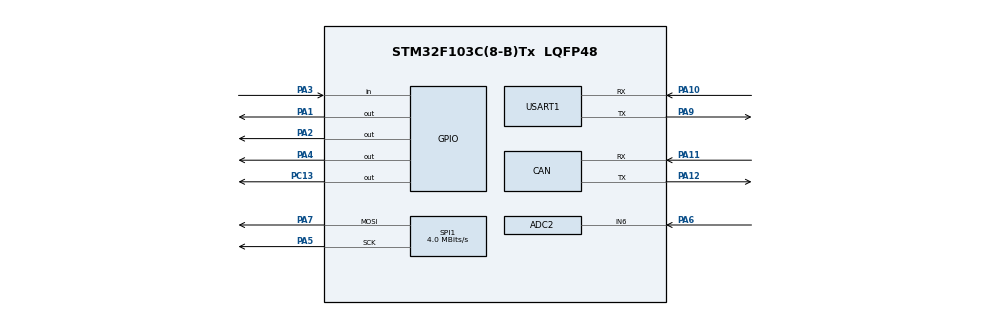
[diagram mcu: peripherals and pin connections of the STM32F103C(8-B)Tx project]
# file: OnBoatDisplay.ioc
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ADC1.Channel-15\#ChannelRegularConversion=ADC_CHANNEL_TEMPSENSOR
ADC1.NbrOfConversionFlag=1
ADC1.Rank-15\#ChannelRegularConversion=1
ADC1.SamplingTime-15\#ChannelRegularConversion=ADC_SAMPLETIME_1CYCLE_5
ADC1.master=1
ADC2.Channel-0\#ChannelRegularConversion=ADC_CHANNEL_6
ADC2.NbrOfConversionFlag=1
ADC2.Rank-0\#ChannelRegularConversion=1
ADC2.SamplingTime-0\#ChannelRegularConversion=ADC_SAMPLETIME_1CYCLE_5
CAN.CalculateTimeBit=6000
CAN.CalculateTimeQuantum=2000.0
Mcu.Family=STM32F1
Mcu.Name=STM32F103C(8-B)Tx
Mcu.Package=LQFP48
NVIC.PriorityGroup=NVIC_PRIORITYGROUP_4
NVIC.USB_HP_CAN1_TX_IRQn=true\:0\:0\:false\:false\:true\:true
NVIC.USB_LP_CAN1_RX0_IRQn=true\:0\:0\:false\:false\:true\:true
PA1.Signal=GPIO_Output
PA10.Mode=Asynchronous
PA10.Signal=USART1_RX
PA11.Mode=Master
PA11.Signal=CAN_RX
PA12.Mode=Master
PA12.Signal=CAN_TX
PA2.Signal=GPIO_Output
PA3.Signal=GPIO_Input
PA4.Signal=GPIO_Output
PA5.Mode=TX_Only_Simplex_Unidirect_Master
PA5.Signal=SPI1_SCK
PA6.Signal=ADCx_IN6
PA7.Mode=TX_Only_Simplex_Unidirect_Master
PA7.Signal=SPI1_MOSI
PA9.Mode=Asynchronous
PA9.Signal=USART1_TX
PC13-TAMPER-RTC.Signal=GPIO_Output
ProjectManager.HeapSize=0x2710
ProjectManager.StackSize=0x300
ProjectManager.TargetToolchain=SW4STM32
RCC.APB1Freq_Value=8000000
RCC.APB2Freq_Value=8000000
SH.ADCx_IN6.0=ADC2_IN6,IN6
SPI1.CalculateBaudRate=4.0 MBits/s
SPI1.Direction=SPI_DIRECTION_2LINES
SPI1.Mode=SPI_MODE_MASTER
SPI1.VirtualType=VM_MASTER
USART1.VirtualMode=VM_ASYNC
VP_ADC1_TempSens_Input.Mode=IN-TempSens
VP_SYS_VS_ND.Mode=No_Debug
board=OnBoatDisplay

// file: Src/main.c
/**
 ******************************************************************************
 * @file           : main.c
 * @brief          : Main program body
 ******************************************************************************
 ** This notice applies to any and all portions of this file
 * that are not between comment pairs USER CODE BEGIN and
 * USER CODE END. Other portions of this file, whether
 * inserted by the user or by software development tools
 * are owned by their respective copyright owners.
 *
 * COPYRIGHT(c) 2018 STMicroelectronics
 *
 * Redistribution and use in source and binary forms, with or without modification,
 * are permitted provided that the following conditions are met:
 *   1. Redistributions of source code must retain the above copyright notice,
 *      this list of conditions and the following disclaimer.
 *   2. Redistributions in binary form must reproduce the above copyright notice,
 *      this list of conditions and the following disclaimer in the documentation
 *      and/or other materials provided with the distribution.
 *   3. Neither the name of STMicroelectronics nor the names of its contributors
 *      may be used to endorse or promote products derived from this software
 *      without specific prior written permission.
 *
 * THIS SOFTWARE IS PROVIDED BY THE COPYRIGHT HOLDERS AND CONTRIBUTORS "AS IS"
 * AND ANY EXPRESS OR IMPLIED WARRANTIES, INCLUDING, BUT NOT LIMITED TO, THE
 * IMPLIED WARRANTIES OF MERCHANTABILITY AND FITNESS FOR A PARTICULAR PURPOSE ARE
 * DISCLAIMED. IN NO EVENT SHALL THE COPYRIGHT HOLDER OR CONTRIBUTORS BE LIABLE
 * FOR ANY DIRECT, INDIRECT, INCIDENTAL, SPECIAL, EXEMPLARY, OR CONSEQUENTIAL
 * DAMAGES (INCLUDING, BUT NOT LIMITED TO, PROCUREMENT OF SUBSTITUTE GOODS OR
 * SERVICES; LOSS OF USE, DATA, OR PROFITS; OR BUSINESS INTERRUPTION) HOWEVER
 * CAUSED AND ON ANY THEORY OF LIABILITY, WHETHER IN CONTRACT, STRICT LIABILITY,
 * OR TORT (INCLUDING NEGLIGENCE OR OTHERWISE) ARISING IN ANY WAY OUT OF THE USE
 * OF THIS SOFTWARE, EVEN IF ADVISED OF THE POSSIBILITY OF SUCH DAMAGE.
 *
 ******************************************************************************
 */
#include "main.h"
#include "stm32f1xx_hal.h"
#include "adc.h"
#include "can.h"
#include "spi.h"
#include "usart.h"
#include "gpio.h"

/* USER CODE BEGIN Includes */
#include "epd2in9b.h"
#include "epdif.h"
#include "epdpaint.h"
#include "imagedata.h"
#include <stdlib.h>
#include "gompi.h"
/* USER CODE END Includes */

/* USER CODE BEGIN PV */
/* Private variables ---------------------------------------------------------*/
#define COLORED      1
#define UNCOLORED    0

typedef enum { false, true } bool;

enum {
	SailbotState = 0x14ff1015,
	SailbotConn = 0x14ff1115,
	BatteryVoltage = 0x94ff2015
};

typedef struct {
	unsigned char Wing;
	unsigned char Ballast;
	unsigned char Winch;
	unsigned char Rudder;
	unsigned char Tacker;
} SailbotStates_t;

typedef struct {
	unsigned char Wing;
	unsigned char Radio;
	unsigned char Wifi;
	unsigned char Jetson;
	unsigned char UI;
} SailbotConnections_t;

uint8_t ubKeyNumber = 0x0;
CAN_HandleTypeDef    CanHandle;
/* USER CODE END PV */

void SystemClock_Config(void);

/* USER CODE BEGIN PFP */
/* Private function prototypes -----------------------------------------------*/
static void CAN_Config(void);
void waitForCANMsg(int CANID);
void getFirstCANMsgs();
bool compareConnections(SailbotConnections_t conn1, SailbotConnections_t conn2);
bool compareStates(SailbotStates_t states1, SailbotStates_t states2);

/* USER CODE END PFP */

/* USER CODE BEGIN 0 */
volatile unsigned long ticks;
float voltage = 0;

char* modes[5] = {"MANL", "AUTO", "WIFI", "DSBL", "FLTR"};
char* conn[3] = {"OK", "--", "NA"};

char* connectionStr(int status) {
	if (status != 255) {
		return conn[status];
	} else {
		return conn[2];
	}
}

char* modeStr(int status) {
	return modes[status];
}

SailbotStates_t SailbotStates;
SailbotConnections_t SailbotConnections;

SailbotStates_t SailbotStates_tmp;
SailbotConnections_t SailbotConnections_tmp;

/* USER CODE END 0 */

int main(void)
{

	/* MCU Configuration----------------------------------------------------------*/

	/* Reset of all peripherals, Initializes the Flash interface and the Systick. */
	HAL_Init();

	/* Configure the system clock */
	SystemClock_Config();

	/* Initialize all configured peripherals */
	MX_GPIO_Init();
	MX_CAN_Init();
	MX_ADC1_Init();
	MX_USART1_UART_Init();
	MX_SPI1_Init();
	MX_ADC2_Init();
	/* USER CODE BEGIN 2 */

	HAL_GPIO_WritePin(GPIOC, GPIO_PIN_13, GPIO_PIN_SET);

	CAN_Config();

	__HAL_CAN_CLEAR_FLAG(&CanHandle, CAN_FLAG_WKU);

	/* you have to edit the startup_stm32fxxx.s file and set a big enough heap size */
	unsigned char* frame_buffer_black = (unsigned char*)malloc(EPD_WIDTH * EPD_HEIGHT / 8);
	unsigned char* frame_buffer_red = (unsigned char*)malloc(EPD_WIDTH * EPD_HEIGHT / 8);
	EPD epd;
	if (EPD_Init(&epd) != 0) {
		//printf("e-Paper init failed\n");
		return -1;
	}

	Paint paint_black;
	Paint paint_red;
	Paint_Init(&paint_black, frame_buffer_black, epd.width, epd.height);
	Paint_Init(&paint_red, frame_buffer_red, epd.width, epd.height);
	Paint_Clear(&paint_black, UNCOLORED);
	Paint_Clear(&paint_red, UNCOLORED);

	/* Draw something to the frame buffer */
	/* For simplicity, the arguments are explicit numerical coordinates */
	Paint_SetRotate(&paint_black, ROTATE_270);
	Paint_SetRotate(&paint_red, ROTATE_270);

	/*Write strings to the buffer */
	Paint_DrawStringAt(&paint_black, 120, 45, "Boat booting", &Font20, COLORED);
	Paint_DrawStringAt(&paint_black, 120, 70, "Please wait", &Font20, COLORED);

	/* Display the text, plus Gompi in red */
	EPD_DisplayFrame(&epd, frame_buffer_black, gImage_gompi);

	//waitForCANMsg(SailbotState);
	//HAL_Delay(5000); // Will replace with wait for rx of specific CAN message or some other signal from BBB

	getFirstCANMsgs();

	int ADCValue = 0;
	long startTime = 0;
	int interval = 15000; // time between screen updates in sections
	/* USER CODE END 2 */

	/* Infinite loop */
	/* USER CODE BEGIN WHILE */
	while (1)
	{

		startTime = ticks;

		/**
		 *
		 * Continually read messages from the CAN bus.
		 * If the received message is either of the two we care about, save the data from them for later display.
		 * This way the latest data is always available when the display updates.
		 * If the status or connection message changes, then update the display as well
		 *
		 */
		while (ticks < (startTime + interval) && compareConnections(SailbotConnections, SailbotConnections_tmp) && compareStates(SailbotStates, SailbotStates_tmp)) {
			if (HAL_CAN_Receive(&CanHandle, CAN_FIFO0, 500) == HAL_OK) {
				if (CanHandle.pRxMsg->ExtId == SailbotState) {
					SailbotStates_tmp.Wing = CanHandle.pRxMsg->Data[0];
					SailbotStates_tmp.Ballast = CanHandle.pRxMsg->Data[1];
					SailbotStates_tmp.Winch = CanHandle.pRxMsg->Data[2];
					SailbotStates_tmp.Rudder = CanHandle.pRxMsg->Data[3];
					SailbotStates_tmp.Tacker = CanHandle.pRxMsg->Data[4];
				} else if (CanHandle.pRxMsg->ExtId == SailbotConn) {
					SailbotConnections_tmp.Wing = CanHandle.pRxMsg->Data[0];
					SailbotConnections_tmp.Radio = CanHandle.pRxMsg->Data[1];
					SailbotConnections_tmp.Wifi = CanHandle.pRxMsg->Data[2];
					SailbotConnections_tmp.Jetson = CanHandle.pRxMsg->Data[3];
					SailbotConnections_tmp.UI = CanHandle.pRxMsg->Data[4];
				}
			}
		}
		// save the most recent values
		SailbotStates = SailbotStates_tmp;
		SailbotConnections = SailbotConnections_tmp;

		/*
		 * Read ADC to read battery voltage, scale, and write to display buffer
		 */

		// Start the ADC
		HAL_ADC_Start(&hadc2);

		// Poll the ADC, and wait for the conversion to finish
		if (HAL_ADC_PollForConversion(&hadc2, 100) == HAL_OK)
		{
			ADCValue = HAL_ADC_GetValue(&hadc2);

			// Scale from ADC to actual voltage range based on voltage divider and empirically determined offset
			voltage = (float)ADCValue/4096.0*13.0+0.6;

			/* Construct the battery voltage method */
			CanHandle.pTxMsg->ExtId = BatteryVoltage;
			CanHandle.pTxMsg->IDE = CAN_ID_EXT;
			CanHandle.pTxMsg->DLC = 1;
			CanHandle.pTxMsg->Data[0] = (int)(voltage*10)&0xFF;

			/* Transmit the battery voltage message. Doesn't really matter if it fails, not super
			 * critical and there's no real recovery behavior
			 */
			HAL_CAN_Transmit(&CanHandle, 1000);

		}

		char voltageBuf[6];
		sprintf(voltageBuf, "%d.%dv",  (int)voltage, (int)(voltage*10)%10);

		/* Write states to the display */
		char WingStateBuf[13];
		sprintf(WingStateBuf, "Wing:   %s",  modeStr(SailbotStates.Wing));

		char BallastStateBuf[13];
		sprintf(BallastStateBuf, "Ballast:%s",  modeStr(SailbotStates.Ballast));

		char WinchStateBuf[13];
		sprintf(WinchStateBuf, "Winch:  %s",  modeStr(SailbotStates.Winch));

		char RudderStateBuf[13];
		sprintf(RudderStateBuf, "Rudder: %s",  modeStr(SailbotStates.Rudder));

		char TackerStateBuf[10];
		sprintf(TackerStateBuf, "Tacker: %d",  SailbotStates.Tacker);

		char WingConnBuf[12];
		sprintf(WingConnBuf, "Wing:  %s",  connectionStr(SailbotConnections.Wing));

		char RadioConnBuf[12];
		sprintf(RadioConnBuf, "Radio: %s",  connectionStr(SailbotConnections.Radio));

		char WifiConnBuf[12];
		sprintf(WifiConnBuf, "Wifi:  %s",  connectionStr(SailbotConnections.Wifi));

		char JetsonConnBuf[12];
		sprintf(JetsonConnBuf, "Jetson:%s",  connectionStr(SailbotConnections.Jetson));

		char UIConnBuf[12];
		sprintf(UIConnBuf, "UI:    %s",  connectionStr(SailbotConnections.UI));

		/* Write to the display */
		Paint_Clear(&paint_black, UNCOLORED);

		Paint_DrawStringAt(&paint_black, 10, 15, "Connected:", &Font16, COLORED);
		Paint_DrawStringAt(&paint_black, 10, 33, WingConnBuf, &Font16, COLORED);
		Paint_DrawStringAt(&paint_black, 10, 51, RadioConnBuf, &Font16, COLORED);
		Paint_DrawStringAt(&paint_black, 10, 69, WifiConnBuf, &Font16, COLORED);
		Paint_DrawStringAt(&paint_black, 10, 87, JetsonConnBuf, &Font16, COLORED);
		Paint_DrawStringAt(&paint_black, 10, 105, UIConnBuf, &Font16, COLORED);

		Paint_DrawStringAt(&paint_black, 130, 15, "Modes:", &Font16, COLORED);
		Paint_DrawStringAt(&paint_black, 130, 33, WingStateBuf, &Font16, COLORED);
		Paint_DrawStringAt(&paint_black, 130, 51, BallastStateBuf, &Font16, COLORED);
		Paint_DrawStringAt(&paint_black, 130, 69, WinchStateBuf, &Font16, COLORED);
		Paint_DrawStringAt(&paint_black, 130, 87, RudderStateBuf, &Font16, COLORED);
		Paint_DrawStringAt(&paint_black, 130, 105, TackerStateBuf, &Font16, COLORED);

		Paint_DrawStringAt(&paint_black, 225, 5, voltageBuf, &Font24, COLORED);
		EPD_DisplayFrame(&epd, frame_buffer_black, frame_buffer_red);

		/* USER CODE END WHILE */

	}

}

void SystemClock_Config(void)
{

	RCC_OscInitTypeDef RCC_OscInitStruct;
	RCC_ClkInitTypeDef RCC_ClkInitStruct;
	RCC_PeriphCLKInitTypeDef PeriphClkInit;

	/**Initializes the CPU, AHB and APB busses clocks
	 */
	RCC_OscInitStruct.OscillatorType = RCC_OSCILLATORTYPE_HSI;
	RCC_OscInitStruct.HSIState = RCC_HSI_ON;
	RCC_OscInitStruct.HSICalibrationValue = 16;
	RCC_OscInitStruct.PLL.PLLState = RCC_PLL_NONE;
	if (HAL_RCC_OscConfig(&RCC_OscInitStruct) != HAL_OK)
	{
		_Error_Handler(__FILE__, __LINE__);
	}

	/**Initializes the CPU, AHB and APB busses clocks
	 */
	RCC_ClkInitStruct.ClockType = RCC_CLOCKTYPE_HCLK|RCC_CLOCKTYPE_SYSCLK
			|RCC_CLOCKTYPE_PCLK1|RCC_CLOCKTYPE_PCLK2;
	RCC_ClkInitStruct.SYSCLKSource = RCC_SYSCLKSOURCE_HSI;
	RCC_ClkInitStruct.AHBCLKDivider = RCC_SYSCLK_DIV1;
	RCC_ClkInitStruct.APB1CLKDivider = RCC_HCLK_DIV1;
	RCC_ClkInitStruct.APB2CLKDivider = RCC_HCLK_DIV1;

	if (HAL_RCC_ClockConfig(&RCC_ClkInitStruct, FLASH_LATENCY_0) != HAL_OK)
	{
		_Error_Handler(__FILE__, __LINE__);
	}

	PeriphClkInit.PeriphClockSelection = RCC_PERIPHCLK_ADC;
	PeriphClkInit.AdcClockSelection = RCC_ADCPCLK2_DIV2;
	if (HAL_RCCEx_PeriphCLKConfig(&PeriphClkInit) != HAL_OK)
	{
		_Error_Handler(__FILE__, __LINE__);
	}

	/**Configure the Systick interrupt time
	 */
	HAL_SYSTICK_Config(HAL_RCC_GetHCLKFreq()/1000);

	/**Configure the Systick
	 */
	HAL_SYSTICK_CLKSourceConfig(SYSTICK_CLKSOURCE_HCLK);

	/* SysTick_IRQn interrupt configuration */
	HAL_NVIC_SetPriority(SysTick_IRQn, 0, 0);
}

/* USER CODE BEGIN 4 */

void HAL_SYSTICK_Callback(void)
{
	ticks++;
}

void waitForCANMsg(int CANID) {
	bool msgRxd = false;
	while (!msgRxd) {
		if (HAL_CAN_Receive(&CanHandle, CAN_FIFO0, 500) == HAL_OK) {
			if (CanHandle.pRxMsg->ExtId == CANID) {
				msgRxd = true;
			}
		}
	}
}

bool compareStates(SailbotStates_t states1, SailbotStates_t states2) {
	return (states1.Ballast == states2.Ballast) && (states1.Rudder == states2.Rudder) && (states1.Tacker == states2.Tacker) && (states1.Winch == states2.Winch) && (states1.Wing == states2.Wing);
}

bool compareConnections(SailbotConnections_t conn1, SailbotConnections_t conn2) {
	return (conn1.Jetson == conn2.Jetson) && (conn1.Radio == conn2.Radio) && (conn1.UI == conn2.UI) && (conn1.Wifi == conn2.Wifi) && (conn1.Wing == conn2.Wing);
}

void getFirstCANMsgs() {
	bool status = false;
	bool connection = false;
	while (!status && !connection) {
		if (HAL_CAN_Receive(&CanHandle, CAN_FIFO0, 500) == HAL_OK) {
			if (CanHandle.pRxMsg->ExtId == SailbotState) {
				SailbotStates.Wing = CanHandle.pRxMsg->Data[0];
				SailbotStates.Ballast = CanHandle.pRxMsg->Data[1];
				SailbotStates.Winch = CanHandle.pRxMsg->Data[2];
				SailbotStates.Rudder = CanHandle.pRxMsg->Data[3];
				SailbotStates.Tacker = CanHandle.pRxMsg->Data[4];
				status = true;
			} else if (CanHandle.pRxMsg->ExtId == SailbotConn) {
				SailbotConnections.Wing = CanHandle.pRxMsg->Data[0];
				SailbotConnections.Radio = CanHandle.pRxMsg->Data[1];
				SailbotConnections.Wifi = CanHandle.pRxMsg->Data[2];
				SailbotConnections.Jetson = CanHandle.pRxMsg->Data[3];
				SailbotConnections.UI = CanHandle.pRxMsg->Data[4];
				connection = true;
			}
		}
	}
}

static void CAN_Config(void)
{
	CAN_FilterConfTypeDef  sFilterConfig;
	static CanTxMsgTypeDef        TxMessage;
	static CanRxMsgTypeDef        RxMessage;

	//__HAL_CAN_DBG_FREEZE(&CanHandle, DISABLE); // allow CAN peripheral to continue to run while debugger is halted

	/*##-1- Configure the CAN peripheral #######################################*/
	CanHandle.Instance = CAN1;
	CanHandle.pTxMsg = &TxMessage;
	CanHandle.pRxMsg = &RxMessage;

	CanHandle.Init.TTCM = DISABLE;
	CanHandle.Init.ABOM = DISABLE;
	CanHandle.Init.AWUM = DISABLE;
	CanHandle.Init.NART = ENABLE; // change back
	CanHandle.Init.RFLM = DISABLE;
	CanHandle.Init.TXFP = DISABLE;
	CanHandle.Init.Mode = CAN_MODE_NORMAL;
	CanHandle.Init.SJW = CAN_SJW_1TQ;
	CanHandle.Init.BS1 = CAN_BS1_13TQ;
	CanHandle.Init.BS2 = CAN_BS2_2TQ;
	CanHandle.Init.Prescaler = 2;

	if (HAL_CAN_Init(&CanHandle) != HAL_OK)
	{

		/* Initiliazation Error */
		Error_Handler();
	}

	/*##-2- Configure the CAN Filter ###########################################*/
	sFilterConfig.FilterNumber = 0;
	sFilterConfig.FilterMode = CAN_FILTERMODE_IDMASK;
	sFilterConfig.FilterScale = CAN_FILTERSCALE_32BIT;
	sFilterConfig.FilterIdHigh = 0x0000;
	sFilterConfig.FilterIdLow = 0x0000;
	sFilterConfig.FilterMaskIdHigh = 0x0000;
	sFilterConfig.FilterMaskIdLow = 0x0000;
	sFilterConfig.FilterFIFOAssignment = 0;
	sFilterConfig.FilterActivation = ENABLE;
	sFilterConfig.BankNumber = 0;

	if (HAL_CAN_ConfigFilter(&CanHandle, &sFilterConfig) != HAL_OK)
	{
		/* Filter configuration Error */
		Error_Handler();
	}
}

/* USER CODE END 4 */

void _Error_Handler(char *file, int line)
{
	while(1)
	{
	}
}

/************************ (C) COPYRIGHT STMicroelectronics *****END OF FILE****/
